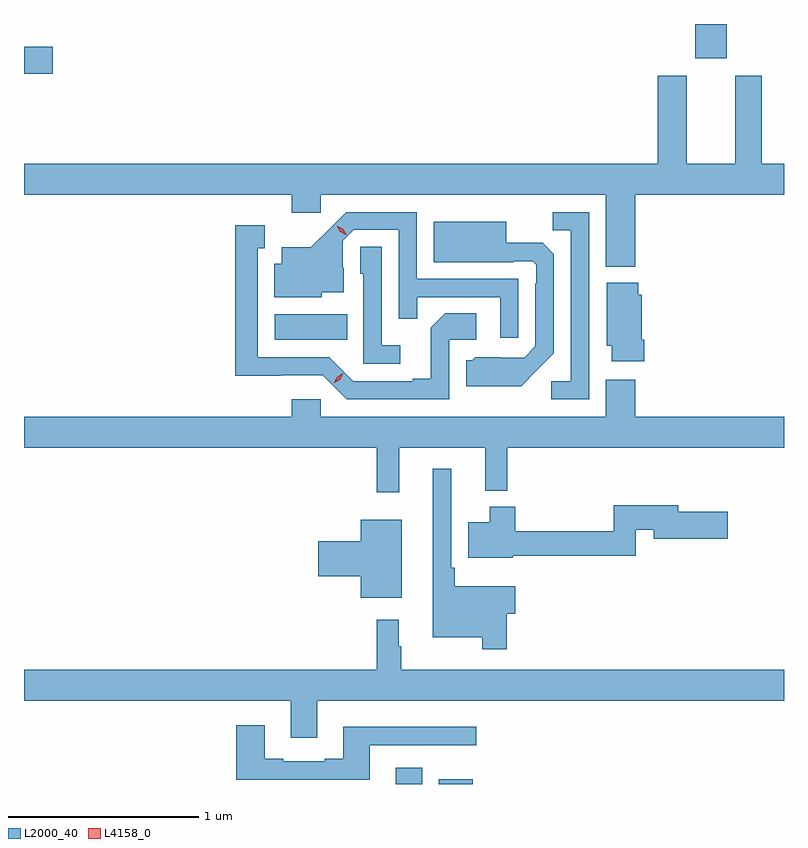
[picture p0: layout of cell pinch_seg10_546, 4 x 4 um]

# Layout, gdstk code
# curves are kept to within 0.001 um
import gdstk
lib = gdstk.Library(unit=1e-6, precision=1e-09)
def R(c, l, rs):  # rectangles x0, y0, x1, y1
    for r in rs: c.add(gdstk.rectangle(r[:2], r[2:], *l))
def P(c, l, *ps):  # polygons
    for p in ps: c.add(gdstk.Polygon(p, *l))
L2000_40 = (2000, 40)
L4158_0 = (4158, 0)

pinch_seg10_546 = lib.new_cell('pinch_seg10_546')
R(pinch_seg10_546, L2000_40, [(354.683,1270.575,354.823,1270.66), (354.911,1270.575,355.09,1270.6), (354.048,1272.914,354.428,1273.048), (352.727,1274.314,352.879,1274.456), (356.261,1274.394,356.425,1274.575)])
P(pinch_seg10_546, L2000_40, [(352.727,1273.676),(354.137,1273.676),(354.137,1273.581),(354.288,1273.581),(354.288,1273.676),(355.79,1273.676),(355.79,1273.298),(355.943,1273.298),(355.943,1273.676),(356.727,1273.676),(356.727,1273.84),(356.611,1273.84),(356.611,1274.302),(356.471,1274.302),(356.471,1273.84),(356.215,1273.84),(356.215,1274.302),(356.063,1274.302),(356.063,1273.84),(352.727,1273.84)],
  [(355.329,1273.233),(354.795,1273.233),(354.795,1273.584),(354.422,1273.584),(354.235,1273.399),(354.083,1273.399),(354.083,1273.312),(354.044,1273.312),(354.044,1273.136),(354.294,1273.136),(354.294,1273.163),(354.409,1273.163),(354.409,1273.292),(354.405,1273.292),(354.405,1273.434),(354.462,1273.491),(354.699,1273.491),(354.699,1273.024),(354.797,1273.024),(354.797,1273.137),(355.233,1273.137),(355.233,1272.924),(355.329,1272.924)],
  [(355.701,1273.584),(355.51,1273.584),(355.51,1273.489),(355.605,1273.489),(355.605,1272.696),(355.503,1272.696),(355.503,1272.6),(355.701,1272.6)],
  [(355.423,1272.749),(355.515,1272.842),(355.515,1273.364),(355.456,1273.423),(355.264,1273.423),(355.264,1273.534),(354.884,1273.534),(354.884,1273.322),(355.304,1273.322),(355.304,1273.326),(355.404,1273.326),(355.422,1273.308),(355.422,1273.208),(355.419,1273.208),(355.419,1272.879),(355.359,1272.819),(355.102,1272.82),(355.086,1272.804),(355.055,1272.804),(355.055,1272.668),(355.343,1272.668)],
  [(354.966,1272.912),(355.108,1272.912),(355.108,1273.052),(354.943,1273.052),(354.867,1272.976),(354.867,1272.709),(354.773,1272.709),(354.773,1272.696),(354.459,1272.696),(354.333,1272.822),(353.956,1272.822),(353.956,1273.395),(353.995,1273.395),(353.995,1273.516),(353.838,1273.516),(353.838,1272.725),(354.3,1272.726),(354.426,1272.6),(354.966,1272.6)],
  [(354.706,1272.883),(354.609,1272.883),(354.609,1273.403),(354.498,1273.403),(354.498,1273.26),(354.513,1273.26),(354.513,1272.786),(354.706,1272.786)],
  [(355.991,1272.913),(355.978,1272.913),(355.978,1273.149),(355.96,1273.149),(355.96,1273.213),(355.793,1273.213),(355.793,1272.882),(355.82,1272.882),(355.82,1272.801),(355.991,1272.801)],
  [(354.701,1272.344),(355.154,1272.344),(355.154,1272.119),(355.271,1272.119),(355.271,1272.344),(356.727,1272.344),(356.727,1272.508),(355.943,1272.508),(355.943,1272.703),(355.79,1272.703),(355.79,1272.508),(354.288,1272.508),(354.288,1272.601),(354.137,1272.601),(354.137,1272.508),(352.727,1272.508),(352.727,1272.344),(354.583,1272.344),(354.583,1272.111),(354.701,1272.111)],
  [(355.268,1271.47),(355.312,1271.47),(355.312,1271.617),(354.995,1271.617),(354.995,1271.713),(354.975,1271.713),(354.975,1272.235),(354.878,1272.235),(354.878,1271.348),(355.14,1271.348),(355.14,1271.283),(355.268,1271.283)],
  [(355.3,1271.776),(355.947,1271.776),(355.947,1271.914),(356.042,1271.914),(356.042,1271.867),(356.431,1271.867),(356.431,1272.009),(356.17,1272.009),(356.17,1272.043),(355.831,1272.043),(355.831,1271.905),(355.313,1271.905),(355.313,1272.034),(355.178,1272.034),(355.178,1271.953),(355.064,1271.953),(355.064,1271.765),(355.3,1271.765)],
  [(354.715,1271.965),(354.5,1271.965),(354.5,1271.852),(354.276,1271.852),(354.276,1271.669),(354.5,1271.669),(354.5,1271.555),(354.715,1271.555)],
  [(354.271,1271.012),(356.727,1271.012),(356.727,1271.176),(354.712,1271.176),(354.712,1271.3),(354.7,1271.3),(354.7,1271.44),(354.583,1271.44),(354.583,1271.176),(352.727,1271.176),(352.727,1271.012),(354.131,1271.012),(354.131,1270.818),(354.271,1270.818)],
  [(354.547,1270.779),(355.108,1270.779),(355.108,1270.876),(354.407,1270.876),(354.407,1270.708),(354.311,1270.708),(354.311,1270.695),(354.091,1270.695),(354.091,1270.708),(353.995,1270.708),(353.995,1270.885),(353.843,1270.885),(353.843,1270.598),(354.547,1270.598)])
P(pinch_seg10_546, L4158_0, [(354.421,1273.467),(354.391,1273.482),(354.373,1273.512),(354.373,1273.512),(354.374,1273.512),(354.404,1273.497),(354.422,1273.468),(354.422,1273.467)],
  [(354.356,1272.684),(354.356,1272.684),(354.374,1272.717),(354.405,1272.736),(354.406,1272.736),(354.406,1272.736),(354.388,1272.703),(354.356,1272.684)])

lib.write_gds('pinch_seg10_546.gds')
